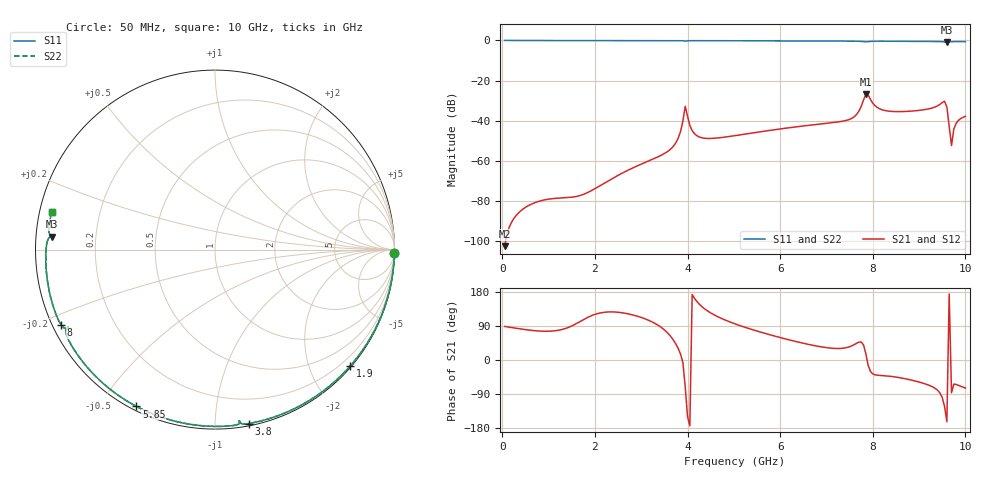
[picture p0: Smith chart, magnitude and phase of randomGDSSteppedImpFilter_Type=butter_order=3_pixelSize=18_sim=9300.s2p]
! freq	dB(S11)	phase(S11)	dB(S12)	phase(S12)
!  dB(S21)	phase(S21)	dB(S22)	phase(S22)
!S-par simulation data
#  GHz  S  DB  R 50
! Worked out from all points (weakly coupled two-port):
!   200 points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, 50 MHz to 10 GHz, reference 50 ohm
!   highest |S21| = -26.86 dB at 7.85 GHz (marker M1); lowest = -102.6 dB at 50 MHz (marker M2)
!   lowest |S11| = -0.8 dB at 9.6 GHz (marker M3), VSWR 21.59, Z = 2.32 + j2 ohm
!   |S11| at or under -10 dB: nowhere
!   |S22| runs from -0.8 to 0.0 dB; largest |S21 - S12| = 0
!   S11 on the Smith chart (normalised r, x): 50 MHz: open; 1.9 GHz: 0.02, -2.69; 3.8 GHz: 0.02, -1.21; 5.85 GHz: 0.02, -0.62; 8 GHz: 0.02, -0.23; 10 GHz: 0.04, +0.11
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0.05  -0.00 -1.1  -102.57 88.6  -102.57 88.6  -0.00 -1.1
1.75  -0.05 -37.6  -76.76 106.4  -76.76 106.4  -0.05 -37.6
1.9  -0.05 -40.7  -75.18 115.6  -75.18 115.6  -0.05 -40.7
3.4  -0.09 -71.1  -57.61 88.9  -57.61 88.9  -0.09 -71.1
3.8  -0.11 -79.0  -48.66 29.9  -48.66 29.9  -0.11 -79.0
3.95  -0.33 -82.0  -32.83 -70.9  -32.83 -70.9  -0.33 -82.0
4.05  -0.13 -83.2  -42.39 -173.7  -42.39 -173.7  -0.13 -83.2
4.2  -0.13 -86.2  -47.46 154.7  -47.46 154.7  -0.13 -86.2
5.05  -0.16 -102.1  -47.37 94.3  -47.37 94.3  -0.16 -102.1
5.85  -0.20 -116.6  -44.60 64.2  -44.60 64.2  -0.20 -116.6
6.7  -0.26 -131.8  -42.10 38.9  -42.10 38.9  -0.26 -131.8
7.55  -0.35 -147.2  -38.79 37.6  -38.79 37.6  -0.35 -147.2
7.7  -0.41 -150.2  -35.26 47.0  -35.26 47.0  -0.41 -150.1
7.85  -0.68 -152.1  -26.86 16.6  -26.86 16.6  -0.68 -152.1
8  -0.40 -153.9  -31.27 -36.6  -31.27 -36.6  -0.40 -153.9
8.35  -0.40 -161.0  -35.25 -42.6  -35.25 -42.6  -0.40 -160.9
9.55  -0.75 175.3  -30.31 -122.8  -30.31 -122.8  -0.74 175.3
9.6  -0.81 175.4  -33.18 -162.8  -33.18 -162.8  -0.80 175.4
9.7  -0.62 173.8  -52.40 -86.4  -52.40 -86.4  -0.62 173.8
9.75  -0.60 172.6  -44.23 -63.5  -44.23 -63.5  -0.60 172.6
9.8  -0.59 171.5  -41.33 -64.5  -41.33 -64.5  -0.59 171.5
10  -0.60 167.1  -37.85 -73.9  -37.85 -73.9  -0.60 167.1
